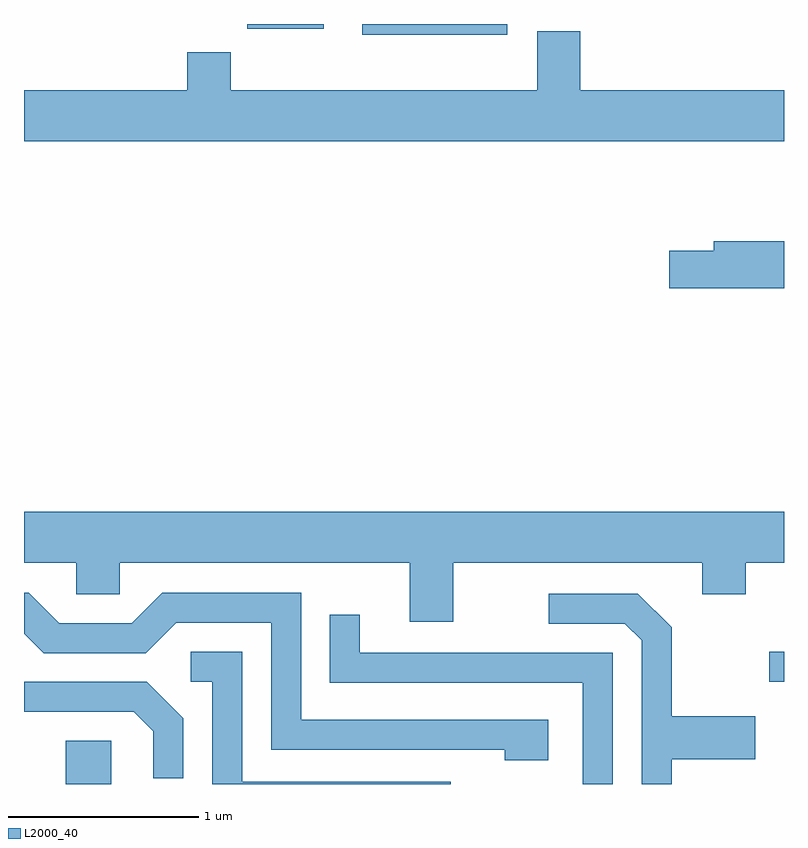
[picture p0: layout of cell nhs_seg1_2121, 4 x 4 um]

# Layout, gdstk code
import gdstk
lib = gdstk.Library(unit=1e-6, precision=1e-09)
def R(c, l, rs):  # rectangles x0, y0, x1, y1
    for r in rs: c.add(gdstk.rectangle(r[:2], r[2:], *l))
def P(c, l, *ps):  # polygons
    for p in ps: c.add(gdstk.Polygon(p, *l))
L2000_40 = (2000, 40)

nhs_seg1_2121 = lib.new_cell('nhs_seg1_2121')
R(nhs_seg1_2121, L2000_40, [(249.831,931.712,250.069,931.939), (253.533,932.251,253.611,932.409), (251.391,935.656,252.154,935.712), (250.786,935.686,251.189,935.712)])
P(nhs_seg1_2121, L2000_40, [(253.611,935.364),(252.539,935.364),(252.539,935.674),(252.311,935.674),(252.311,935.364),(250.699,935.364),(250.699,935.564),(250.471,935.564),(250.471,935.364),(249.611,935.364),(249.611,935.096),(253.611,935.096)],
  [(253.611,934.569),(253.241,934.569),(253.241,934.519),(253.006,934.519),(253.006,934.321),(253.611,934.321)],
  [(251.869,932.876),(253.181,932.876),(253.181,932.711),(253.409,932.711),(253.409,932.876),(253.611,932.876),(253.611,933.144),(249.611,933.144),(249.611,932.876),(249.886,932.876),(249.886,932.711),(250.114,932.711),(250.114,932.876),(251.641,932.876),(251.641,932.566),(251.869,932.566)],
  [(252.369,932.049),(251.069,932.049),(251.069,932.719),(250.339,932.719),(250.179,932.559),(249.797,932.559),(249.637,932.719),(249.611,932.719),(249.611,932.504),(249.714,932.401),(250.252,932.401),(250.412,932.561),(250.911,932.561),(250.911,931.891),(252.141,931.891),(252.141,931.836),(252.369,931.836)],
  [(253.019,931.841),(253.459,931.841),(253.459,932.069),(253.019,932.069),(253.019,932.537),(252.842,932.714),(252.373,932.714),(252.373,932.556),(252.774,932.556),(252.861,932.469),(252.861,931.712),(253.019,931.712)],
  [(252.709,932.404),(251.379,932.404),(251.379,932.603),(251.221,932.603),(251.221,932.246),(252.551,932.246),(252.551,931.712),(252.709,931.712)],
  [(251.858,931.724),(250.759,931.724),(250.759,932.409),(250.488,932.409),(250.488,932.251),(250.601,932.251),(250.601,931.712),(251.858,931.712)],
  [(250.449,932.057),(250.257,932.249),(249.611,932.249),(249.611,932.091),(250.189,932.091),(250.291,931.989),(250.291,931.743),(250.449,931.743)])

lib.write_gds('nhs_seg1_2121.gds')
